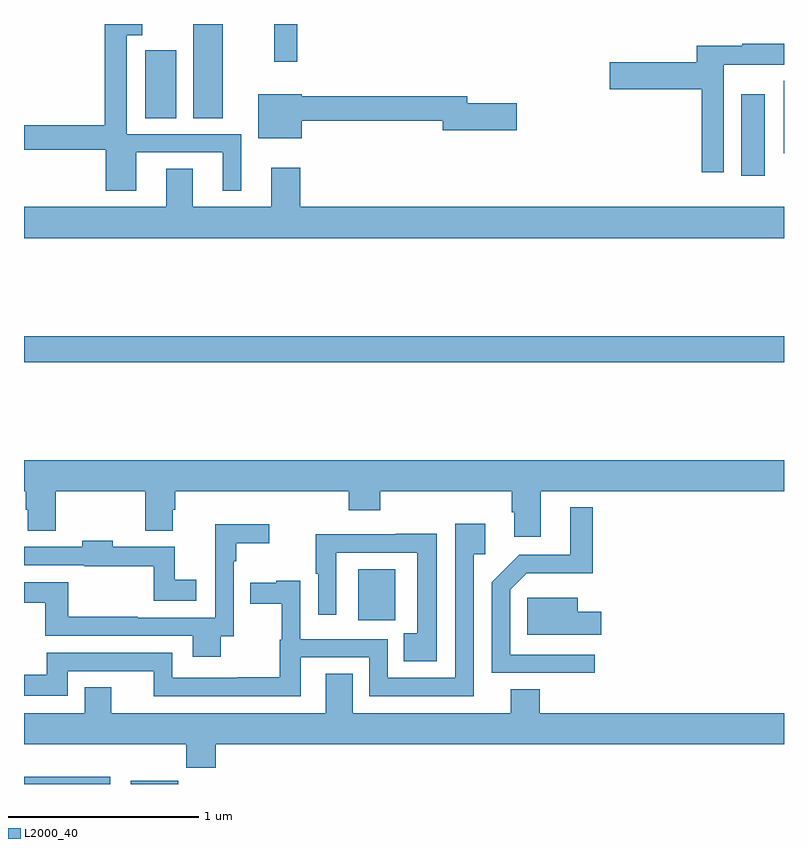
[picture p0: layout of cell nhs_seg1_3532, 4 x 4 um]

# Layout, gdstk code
import gdstk
lib = gdstk.Library(unit=1e-6, precision=1e-09)
def R(c, l, rs):  # rectangles x0, y0, x1, y1
    for r in rs: c.add(gdstk.rectangle(r[:2], r[2:], *l))
def P(c, l, *ps):  # polygons
    for p in ps: c.add(gdstk.Polygon(p, *l))
L2000_40 = (2000, 40)

nhs_seg1_3532 = lib.new_cell('nhs_seg1_3532')
R(nhs_seg1_3532, L2000_40, [(303,542.199,303.454,542.236), (303.563,542.199,303.812,542.215), (304.76,543.06,304.954,543.328), (303,544.42,307,544.556), (306.776,545.4,306.898,545.83), (306.998,545.52,307,545.9), (303.638,545.704,303.802,546.061), (303.89,545.704,304.045,546.199), (304.318,546,304.439,546.199)])
P(nhs_seg1_3532, L2000_40, [(303.592,545.523),(304.046,545.523),(304.046,545.322),(304.144,545.322),(304.144,545.619),(303.54,545.619),(303.54,546.141),(303.622,546.141),(303.622,546.199),(303.424,546.199),(303.424,545.666),(303,545.666),(303,545.538),(303.431,545.538),(303.431,545.322),(303.592,545.322)],
  [(306.684,545.984),(306.894,545.984),(306.894,545.985),(307,545.985),(307,546.094),(306.781,546.094),(306.781,546.084),(306.542,546.084),(306.542,545.997),(306.084,545.997),(306.084,545.855),(306.568,545.855),(306.568,545.418),(306.684,545.418)],
  [(304.462,545.691),(305.204,545.691),(305.204,545.641),(305.593,545.641),(305.593,545.783),(305.332,545.783),(305.332,545.819),(304.462,545.819),(304.462,545.83),(304.232,545.83),(304.232,545.597),(304.462,545.597)],
  [(307,545.236),(304.454,545.236),(304.454,545.443),(304.301,545.443),(304.301,545.236),(303.889,545.236),(303.889,545.438),(303.749,545.438),(303.749,545.236),(303,545.236),(303,545.072),(307,545.072)],
  [(305.719,543.74),(307,543.74),(307,543.904),(303,543.904),(303,543.74),(303.008,543.74),(303.008,543.642),(303.02,543.642),(303.02,543.532),(303.168,543.532),(303.168,543.74),(303.637,543.74),(303.637,543.532),(303.784,543.532),(303.784,543.642),(303.797,543.642),(303.797,543.74),(304.709,543.74),(304.709,543.641),(304.874,543.641),(304.874,543.74),(305.567,543.74),(305.567,543.629),(305.579,543.629),(305.579,543.501),(305.719,543.501)],
  [(306.004,542.88),(305.559,542.88),(305.559,543.222),(305.645,543.308),(305.993,543.308),(305.993,543.655),(305.876,543.655),(305.876,543.405),(305.606,543.405),(305.463,543.262),(305.463,542.784),(306.004,542.784)],
  [(304.456,542.865),(304.818,542.865),(304.818,542.661),(305.367,542.661),(305.367,543.407),(305.428,543.407),(305.428,543.568),(305.271,543.568),(305.271,542.757),(304.914,542.757),(304.914,542.961),(304.455,542.961),(304.455,543.268),(304.328,543.268),(304.328,543.257),(304.191,543.257),(304.191,543.147),(304.357,543.147),(304.357,542.958),(304.347,542.958),(304.347,542.76),(304.123,542.76),(304.123,542.757),(303.78,542.757),(303.78,542.889),(303.119,542.889),(303.119,542.773),(303,542.773),(303,542.664),(303.231,542.664),(303.231,542.793),(303.682,542.793),(303.682,542.661),(304.456,542.661)],
  [(304.035,542.977),(304.104,542.977),(304.104,543.371),(304.117,543.371),(304.117,543.467),(304.291,543.467),(304.291,543.565),(304.007,543.565),(304.007,543.075),(303.599,543.075),(303.599,543.08),(303.232,543.08),(303.232,543.261),(303,543.261),(303,543.153),(303.111,543.153),(303.111,542.979),(303.887,542.979),(303.887,542.87),(304.035,542.87)],
  [(305.173,543.516),(304.957,543.516),(304.957,543.513),(304.536,543.513),(304.536,543.306),(304.548,543.306),(304.548,543.09),(304.644,543.09),(304.644,543.417),(305.069,543.417),(305.069,542.993),(304.999,542.993),(304.999,542.846),(305.173,542.846)],
  [(303.907,543.274),(303.794,543.274),(303.794,543.447),(303.467,543.447),(303.467,543.478),(303.307,543.478),(303.307,543.447),(303,543.447),(303,543.351),(303.318,543.351),(303.318,543.346),(303.684,543.346),(303.684,543.164),(303.907,543.164)],
  [(306.037,543.106),(305.914,543.106),(305.914,543.178),(305.649,543.178),(305.649,542.984),(306.037,542.984)],
  [(303.46,542.708),(303.32,542.708),(303.32,542.572),(303,542.572),(303,542.408),(303.853,542.408),(303.853,542.284),(304.01,542.284),(304.01,542.408),(307,542.408),(307,542.572),(305.714,542.572),(305.714,542.699),(305.561,542.699),(305.561,542.572),(304.729,542.572),(304.729,542.78),(304.589,542.78),(304.589,542.572),(303.46,542.572)])

lib.write_gds('nhs_seg1_3532.gds')
